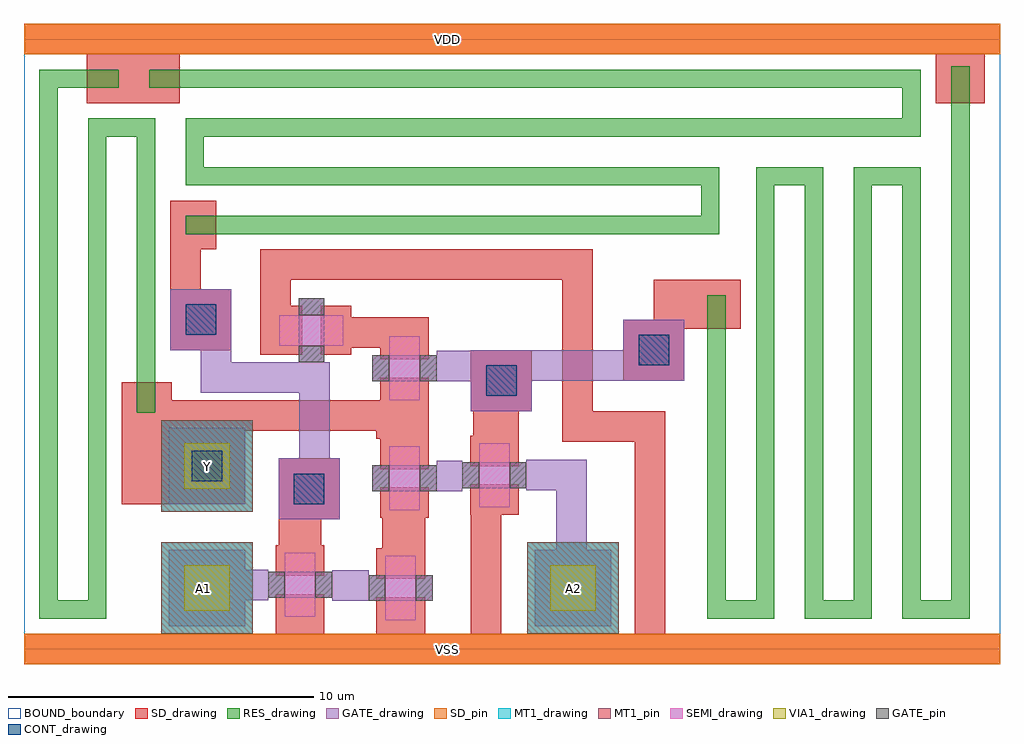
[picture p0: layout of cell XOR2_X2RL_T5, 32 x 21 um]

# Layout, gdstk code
from math import pi, radians
import gdstk
lib = gdstk.Library(unit=1e-6, precision=1e-09)
def R(c, l, rs):  # rectangles x0, y0, x1, y1
    for r in rs: c.add(gdstk.rectangle(r[:2], r[2:], *l))
def P(c, l, *ps):  # polygons
    for p in ps: c.add(gdstk.Polygon(p, *l))
RES_drawing = (1, 0)
SEMI_drawing = (3, 0)
SD_drawing = (10, 0)
SD_pin = (10, 3)
GATE_drawing = (11, 0)
GATE_pin = (11, 3)
MT1_drawing = (20, 0)
MT1_pin = (20, 3)
CONT_drawing = (30, 0)
VIA1_drawing = (41, 0)
BOUND_boundary = (150, 5)

nch_cdns_772545157270 = lib.new_cell('nch_CDNS_772545157270')
R(nch_cdns_772545157270, SEMI_drawing, [(-1.05,-0.5,1.05,0.5)])
R(nch_cdns_772545157270, SD_drawing, [(-1.3,-0.8,-0.3,0.8), (0.3,-0.8,1.3,0.8)])
R(nch_cdns_772545157270, GATE_drawing, [(-0.425,-1.05,0.425,1.05)])
R(nch_cdns_772545157270, GATE_pin, [(-0.425,-1.05,0.425,-0.5), (-0.425,0.5,0.425,1.05)])

gate_mt1_cdns_7725451572 = lib.new_cell('GATE_MT1_CDNS_772545157270')
R(gate_mt1_cdns_7725451572, GATE_drawing, [(-1.25,-1.25,1.25,1.25)])
R(gate_mt1_cdns_7725451572, MT1_drawing, [(-1.25,-1.25,1.25,1.25)])
R(gate_mt1_cdns_7725451572, VIA1_drawing, [(-0.75,-0.75,0.75,0.75)])

sd_gate_cdns_77254515727 = lib.new_cell('SD_GATE_CDNS_772545157271')
R(sd_gate_cdns_77254515727, SD_drawing, [(-1,-1,1,1)])
R(sd_gate_cdns_77254515727, GATE_drawing, [(-1,-1,1,1)])
R(sd_gate_cdns_77254515727, CONT_drawing, [(-0.5,-0.5,0.5,0.5)])

xor2_x2rl_t5 = lib.new_cell('XOR2_X2RL_T5')
R(xor2_x2rl_t5, SD_drawing, [(3.2,4.75,4.85,8.75), (4.75,4.75,7.25,7.25), (14.725,7,16.225,7.95), (10.725,9.875,13.275,10.875), (21.65,10.5,23.5,12.1), (4.8,13.1,6.3,14.7), (2.05,17.9,3.6,19.5), (3.6,17.9,5.1,19.5), (29.9,17.9,31.5,19.5)])
P(xor2_x2rl_t5, SD_drawing, [(13.275,8.15),(4.5,8.15),(4.5,7.15),(11.55,7.15),(11.55,6.9),(13.275,6.9)])
R(xor2_x2rl_t5, SD_pin, [(0,-0.5,32,0.5), (0,19.5,32,20.5)])
P(xor2_x2rl_t5, GATE_drawing, [(16.575,6.2),(16.575,5.2),(16.475,5.2),(16.475,5.325),(16.425,5.325),(16.425,6.075),(16.475,6.075),(16.475,6.2)],
  [(7.9,2.6),(7.9,1.6),(8,1.6),(8,1.725),(8.05,1.725),(8.05,2.475),(8,2.475),(8,2.6)],
  [(11.2,2.575),(11.2,1.575),(11.3,1.575),(11.3,1.6),(11.35,1.6),(11.35,2.35),(11.3,2.35),(11.3,2.575)],
  [(10.2,1.575),(10.2,2.575),(10.1,2.575),(10.1,2.45),(10.05,2.45),(10.05,1.7),(10.1,1.7),(10.1,1.575)],
  [(9.025,9.3),(10.025,9.3),(10.025,9.4),(9.8,9.4),(9.8,9.45),(9.05,9.45),(9.05,9.4),(9.025,9.4)])
R(xor2_x2rl_t5, MT1_drawing, [(4.5,0.5,7.5,3.5), (4.5,0.5,7.5,3.5), (16.5,0.5,19.5,3.5), (4.5,4.5,7.5,7.5)])
R(xor2_x2rl_t5, MT1_pin, [(4.5,0.5,7.5,3.5), (16.5,0.5,19.5,3.5), (4.5,4.5,7.5,7.5)])
R(xor2_x2rl_t5, BOUND_boundary, [(0,0,32,20)])
xor2_x2rl_t5.add(gdstk.FlexPath([(8.25,12.6),(8.25,9.65)], 1, ends=(0.5, 0), simple_path=True, layer=10, datatype=0))  # SD_drawing
xor2_x2rl_t5.add(gdstk.FlexPath([(18.15,7.3),(18.15,12.6),(9.325,12.6)], 1, ends=(0.5, 0), simple_path=True, layer=10, datatype=0))  # SD_drawing
xor2_x2rl_t5.add(gdstk.FlexPath([(9.05,0),(32,0)], 1, ends=(0.8, 0), simple_path=True, layer=10, datatype=0))  # SD_drawing
xor2_x2rl_t5.add(gdstk.FlexPath([(5,4.75),(5,7.65)], 1, ends=(0, 0.5), simple_path=True, layer=10, datatype=0))  # SD_drawing
xor2_x2rl_t5.add(gdstk.FlexPath([(20.475,7.3),(18.15,7.3)], 1, ends="extended", simple_path=True, layer=10, datatype=0))  # SD_drawing
xor2_x2rl_t5.add(gdstk.FlexPath([(21.15,9.8),(20.65,9.8)], 2, ends=(0.5, 0), simple_path=True, layer=10, datatype=0))  # SD_drawing
xor2_x2rl_t5.add(gdstk.FlexPath([(9.75,12.6),(8.25,12.6)], 1, ends=(0, 0.5), simple_path=True, layer=10, datatype=0))  # SD_drawing
xor2_x2rl_t5.add(gdstk.FlexPath([(5.3,13.1),(5.3,11.8)], 1, ends="flush", simple_path=True, layer=10, datatype=0))  # SD_drawing
xor2_x2rl_t5.add(gdstk.FlexPath([(20.525,7.3),(20.525,0.5)], 1, ends=(0.5, 0), simple_path=True, layer=10, datatype=0))  # SD_drawing
xor2_x2rl_t5.add(gdstk.FlexPath([(12.45,3.3),(12.45,4.3)], 1.4, ends="flush", simple_path=True, layer=10, datatype=0))  # SD_drawing
xor2_x2rl_t5.add(gdstk.FlexPath([(9.05,3.4),(9.05,4.9)], 1.4, ends="flush", simple_path=True, layer=10, datatype=0))  # SD_drawing
xor2_x2rl_t5.add(gdstk.FlexPath([(15.15,4.4),(15.15,0.1)], 1, ends="flush", simple_path=True, layer=10, datatype=0))  # SD_drawing
xor2_x2rl_t5.add(gdstk.FlexPath([(12.35,0.8),(12.35,0)], 1.6, ends="flush", simple_path=True, layer=10, datatype=0))  # SD_drawing
xor2_x2rl_t5.add(gdstk.FlexPath([(9.05,0.8),(9.05,0)], 1.6, ends=(0, 0.5), simple_path=True, layer=10, datatype=0))  # SD_drawing
xor2_x2rl_t5.add(gdstk.FlexPath([(21.15,12.1),(21.15,9.8)], 1, ends=(0, 1), simple_path=True, layer=10, datatype=0))  # SD_drawing
xor2_x2rl_t5.add(gdstk.FlexPath([(0,20),(32,20)], 1, ends="flush", simple_path=True, layer=10, datatype=0))  # SD_drawing
xor2_x2rl_t5.add(gdstk.FlexPath([(0,0),(9.05,0)], 1, ends=(0, 0.8), simple_path=True, layer=10, datatype=0))  # SD_drawing
xor2_x2rl_t5.add(gdstk.FlexPath([(13.525,9.275),(14.65,9.275)], 1, ends="flush", simple_path=True, layer=11, datatype=0))  # GATE_drawing
xor2_x2rl_t5.add(gdstk.FlexPath([(6.3,11.15),(6.3,8.9)], 1, ends="extended", simple_path=True, layer=11, datatype=0))  # GATE_drawing
xor2_x2rl_t5.add(gdstk.FlexPath([(16.65,9.3),(21.35,9.3)], 1, ends="flush", simple_path=True, layer=11, datatype=0))  # GATE_drawing
xor2_x2rl_t5.add(gdstk.FlexPath([(6.3,8.9),(9.525,8.9)], 1, ends="extended", simple_path=True, layer=11, datatype=0))  # GATE_drawing
xor2_x2rl_t5.add(gdstk.FlexPath([(16.575,5.7),(17.95,5.7)], 1, ends=(0, 0.5), simple_path=True, layer=11, datatype=0))  # GATE_drawing
xor2_x2rl_t5.add(gdstk.FlexPath([(13.525,5.675),(14.375,5.675)], 1, ends="flush", simple_path=True, layer=11, datatype=0))  # GATE_drawing
xor2_x2rl_t5.add(gdstk.FlexPath([(10.2,2.075),(11.2,2.075)], 1, ends="flush", simple_path=True, layer=11, datatype=0))  # GATE_drawing
xor2_x2rl_t5.add(gdstk.FlexPath([(7.9,2.1),(7.75,2.1)], 1, ends=(0, 0.5), simple_path=True, layer=11, datatype=0))  # GATE_drawing
xor2_x2rl_t5.add(gdstk.FlexPath([(17.95,5.7),(17.95,3.25)], 1, ends=(0.5, 0), simple_path=True, layer=11, datatype=0))  # GATE_drawing
xor2_x2rl_t5.add(gdstk.FlexPath([(9.525,8.9),(9.525,4.25)], 1, ends=(0.5, 0), simple_path=True, layer=11, datatype=0))  # GATE_drawing
xor2_x2rl_t5.add(gdstk.FlexPath([(4.1,18.7),(29.1,18.7),(29.1,17.1),(5.6,17.1),(5.6,15.5),(22.5,15.5),(22.5,13.9),(5.3,13.9)], 0.6, ends="flush", simple_path=True, layer=1, datatype=0))  # RES_drawing
xor2_x2rl_t5.add(gdstk.FlexPath([(30.7,19.1),(30.7,1.3),(29.1,1.3),(29.1,15.5),(27.5,15.5),(27.5,1.3),(25.9,1.3),(25.9,15.5),(24.3,15.5),(24.3,1.3),(22.7,1.3),(22.7,11.6)], 0.6, ends="flush", simple_path=True, layer=1, datatype=0))  # RES_drawing
xor2_x2rl_t5.add(gdstk.FlexPath([(3.1,18.7),(0.8,18.7),(0.8,1.3),(2.4,1.3),(2.4,17.1),(4,17.1),(4,7.75)], 0.6, ends="flush", simple_path=True, layer=1, datatype=0))  # RES_drawing
xor2_x2rl_t5.add(gdstk.Reference(nch_cdns_772545157270, (15.425,5.7), rotation=pi/2))
xor2_x2rl_t5.add(gdstk.Reference(nch_cdns_772545157270, (9.05,2.1), rotation=pi/2))
xor2_x2rl_t5.add(gdstk.Reference(nch_cdns_772545157270, (12.35,2), rotation=pi/2))
xor2_x2rl_t5.add(gdstk.Reference(nch_cdns_772545157270, (9.425,10.45), x_reflection=True))
xor2_x2rl_t5.add(gdstk.Reference(nch_cdns_772545157270, (12.475,9.2), rotation=3*pi/2))
xor2_x2rl_t5.add(gdstk.Reference(nch_cdns_772545157270, (12.475,5.6), rotation=3*pi/2))
xor2_x2rl_t5.add(gdstk.Reference(gate_mt1_cdns_7725451572, (6,6), rotation=pi, x_reflection=True))
xor2_x2rl_t5.add(gdstk.Reference(gate_mt1_cdns_7725451572, (6,6)))
xor2_x2rl_t5.add(gdstk.Reference(gate_mt1_cdns_7725451572, (6,2), rotation=pi, x_reflection=True))
xor2_x2rl_t5.add(gdstk.Reference(gate_mt1_cdns_7725451572, (18,2), rotation=pi, x_reflection=True))
xor2_x2rl_t5.add(gdstk.Reference(sd_gate_cdns_77254515727, (5.8,10.8)))
xor2_x2rl_t5.add(gdstk.Reference(sd_gate_cdns_77254515727, (20.65,9.8)))
xor2_x2rl_t5.add(gdstk.Reference(sd_gate_cdns_77254515727, (15.65,8.8)))
xor2_x2rl_t5.add(gdstk.Reference(sd_gate_cdns_77254515727, (9.35,5.25)))
xor2_x2rl_t5.add(gdstk.Reference(sd_gate_cdns_77254515727, (6,6)))
xor2_x2rl_t5.add(gdstk.Label('A1', (5.9,2), layer=20, texttype=3))
xor2_x2rl_t5.add(gdstk.Label('A2', (18,2), layer=20, texttype=3))
xor2_x2rl_t5.add(gdstk.Label('A1', (5.9,2), layer=20, texttype=3))
xor2_x2rl_t5.add(gdstk.Label('Y', (6,6), layer=20, texttype=3))
xor2_x2rl_t5.add(gdstk.Label('VSS', (13.9,0), layer=10, texttype=3))
xor2_x2rl_t5.add(gdstk.Label('VDD', (13.9,20), layer=10, texttype=3))

lib.write_gds('XOR2_X2RL_T5.gds')
